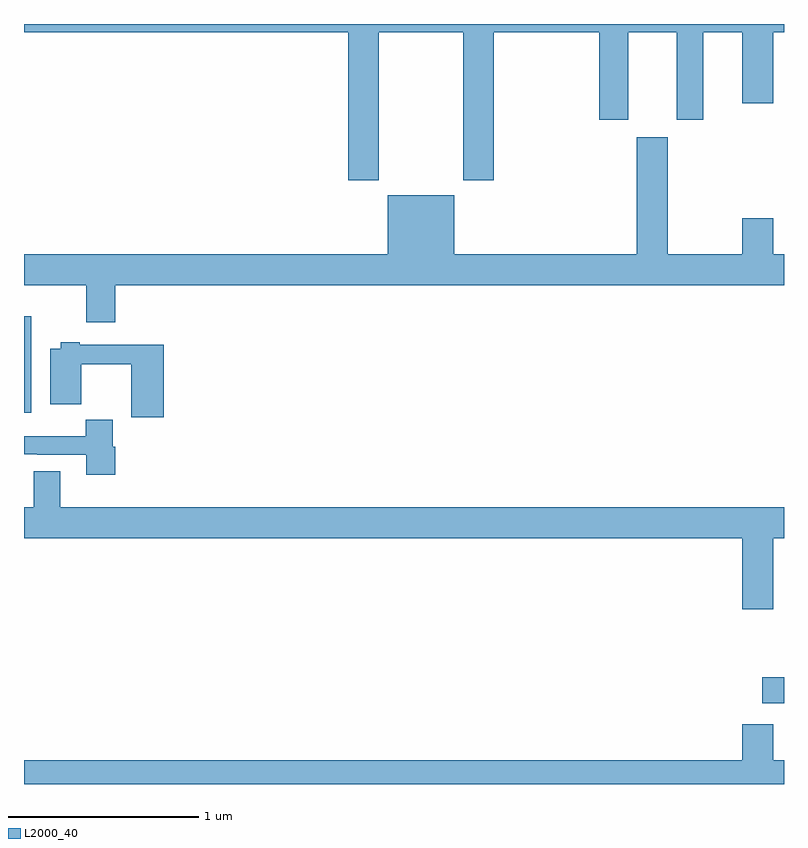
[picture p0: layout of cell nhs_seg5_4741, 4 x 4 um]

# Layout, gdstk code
import gdstk
lib = gdstk.Library(unit=1e-6, precision=1e-09)
def R(c, l, rs):  # rectangles x0, y0, x1, y1
    for r in rs: c.add(gdstk.rectangle(r[:2], r[2:], *l))
def P(c, l, *ps):  # polygons
    for p in ps: c.add(gdstk.Polygon(p, *l))
L2000_40 = (2000, 40)

nhs_seg5_4741 = lib.new_cell('nhs_seg5_4741')
R(nhs_seg5_4741, L2000_40, [(392.886,857.225,393,857.36), (389,858.753,389.038,859.261)])
P(nhs_seg5_4741, L2000_40, [(390.867,860.756),(391.312,860.756),(391.312,859.977),(391.472,859.977),(391.472,860.756),(392.027,860.756),(392.027,860.295),(392.179,860.295),(392.179,860.756),(392.435,860.756),(392.435,860.295),(392.575,860.295),(392.575,860.756),(392.78,860.756),(392.78,860.382),(392.944,860.382),(392.944,860.756),(393,860.756),(393,860.799),(389,860.799),(389,860.756),(390.707,860.756),(390.707,859.977),(390.867,859.977)],
  [(389,859.424),(389.327,859.424),(389.327,859.23),(389.48,859.23),(389.48,859.424),(393,859.424),(393,859.588),(392.944,859.588),(392.944,859.777),(392.78,859.777),(392.78,859.588),(392.389,859.588),(392.389,860.203),(392.225,860.203),(392.225,859.588),(391.264,859.588),(391.264,859.897),(390.914,859.897),(390.914,859.588),(389,859.588)],
  [(389.735,859.11),(389.293,859.11),(389.293,859.123),(389.193,859.123),(389.193,859.09),(389.138,859.09),(389.138,858.797),(389.3,858.797),(389.3,859.009),(389.564,859.009),(389.564,858.729),(389.735,858.729)],
  [(389.48,858.573),(389.467,858.573),(389.467,858.715),(389.325,858.715),(389.325,858.628),(389,858.628),(389,858.534),(389.071,858.534),(389.071,858.531),(389.327,858.531),(389.327,858.426),(389.48,858.426)],
  [(392.944,858.092),(393,858.092),(393,858.256),(389.191,858.256),(389.191,858.446),(389.051,858.446),(389.051,858.256),(389,858.256),(389,858.092),(392.78,858.092),(392.78,857.718),(392.944,857.718)],
  [(393,856.924),(392.944,856.924),(392.944,857.113),(392.78,857.113),(392.78,856.924),(389,856.924),(389,856.799),(393,856.799)])

lib.write_gds('nhs_seg5_4741.gds')
